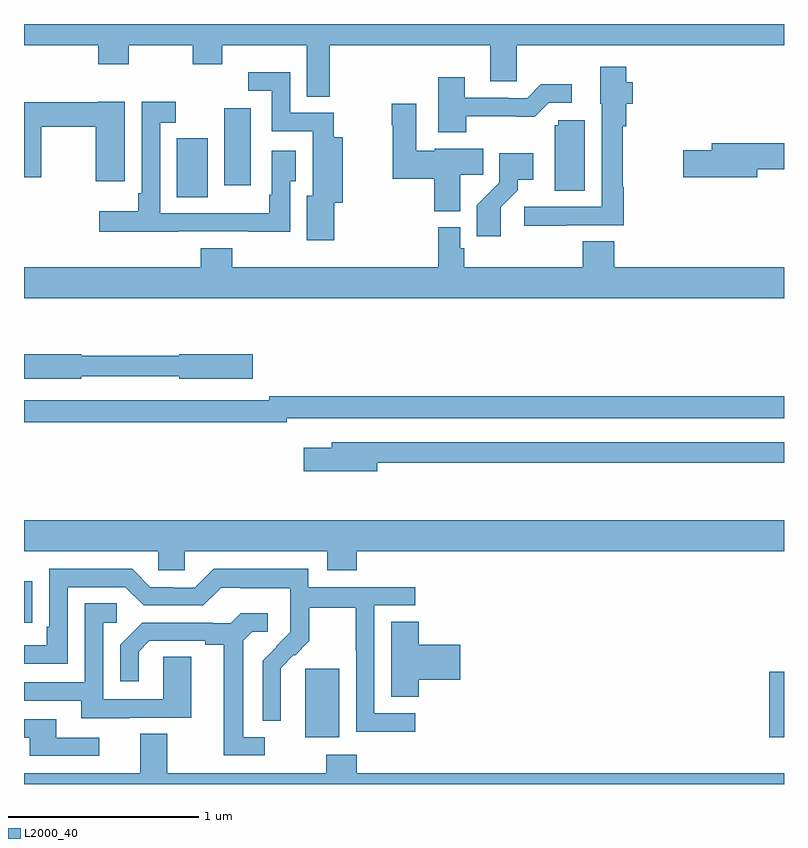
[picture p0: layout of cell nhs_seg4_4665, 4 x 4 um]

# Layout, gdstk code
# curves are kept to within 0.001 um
import gdstk
lib = gdstk.Library(unit=1e-6, precision=1e-09)
def R(c, l, rs):  # rectangles x0, y0, x1, y1
    for r in rs: c.add(gdstk.rectangle(r[:2], r[2:], *l))
def P(c, l, *ps):  # polygons
    for p in ps: c.add(gdstk.Polygon(p, *l))
L2000_40 = (2000, 40)

nhs_seg4_4665 = lib.new_cell('nhs_seg4_4665')
R(nhs_seg4_4665, L2000_40, [(362.48,825.146,362.659,825.507), (364.922,825.146,365,825.49), (361,825.748,361.043,825.967), (361.805,827.989,361.966,828.3), (362.054,828.051,362.194,828.457)])
P(nhs_seg4_4665, L2000_40, [(362.608,828.788),(363.455,828.788),(363.455,828.598),(363.594,828.598),(363.594,828.788),(365,828.788),(365,828.9),(361,828.9),(361,828.788),(361.391,828.788),(361.391,828.689),(361.551,828.689),(361.551,828.788),(361.888,828.788),(361.888,828.689),(362.043,828.689),(362.043,828.788),(362.489,828.788),(362.489,828.517),(362.608,828.517)],
  [(363.857,827.841),(364.157,827.841),(364.157,828.044),(364.15,828.044),(364.15,828.362),(364.17,828.362),(364.17,828.48),(364.205,828.48),(364.205,828.594),(364.17,828.594),(364.17,828.676),(364.034,828.676),(364.034,828.48),(364.041,828.48),(364.041,827.937),(363.633,827.937),(363.633,827.839),(363.857,827.839)],
  [(362.633,827.96),(362.677,827.96),(362.677,828.304),(362.63,828.304),(362.63,828.432),(362.4,828.432),(362.4,828.646),(362.181,828.646),(362.181,828.549),(362.304,828.549),(362.304,828.336),(362.519,828.336),(362.519,827.995),(362.489,827.995),(362.489,827.763),(362.633,827.763)],
  [(363.327,828.414),(363.689,828.413),(363.762,828.486),(363.883,828.486),(363.883,828.583),(363.721,828.583),(363.648,828.51),(363.548,828.51),(363.548,828.513),(363.319,828.513),(363.319,828.619),(363.179,828.619),(363.179,828.329),(363.327,828.329)],
  [(361.531,828.49),(361.389,828.49),(361.389,828.487),(361,828.487),(361,828.093),(361.092,828.093),(361.092,828.358),(361.378,828.358),(361.378,828.072),(361.531,828.072)],
  [(361.813,827.808),(362.179,827.808),(362.179,827.807),(362.4,827.807),(362.4,828.073),(362.431,828.073),(362.431,828.232),(362.304,828.232),(362.304,828.001),(362.292,828.001),(362.292,827.905),(362.062,827.905),(362.062,827.904),(361.716,827.904),(361.716,828.381),(361.798,828.381),(361.798,828.49),(361.62,828.49),(361.62,828.01),(361.6,828.01),(361.6,827.914),(361.395,827.914),(361.395,827.807),(361.813,827.807)],
  [(363.295,828.106),(363.416,828.106),(363.416,828.244),(363.162,828.244),(363.162,828.232),(363.064,828.232),(363.064,828.481),(362.935,828.481),(362.935,828.368),(362.942,828.368),(362.942,828.085),(363.158,828.085),(363.158,827.915),(363.295,827.915)],
  [(363.952,828.393),(363.813,828.393),(363.813,828.366),(363.794,828.366),(363.794,828.022),(363.952,828.022)],
  [(364.858,828.136),(365,828.136),(365,828.272),(364.619,828.272),(364.619,828.236),(364.47,828.236),(364.47,828.094),(364.858,828.094)],
  [(363.508,827.935),(363.598,828.025),(363.598,828.08),(363.679,828.08),(363.679,828.22),(363.501,828.22),(363.501,828.065),(363.382,827.946),(363.382,827.784),(363.508,827.784)],
  [(365,827.62),(364.106,827.62),(364.106,827.756),(363.941,827.756),(363.941,827.62),(363.317,827.62),(363.317,827.721),(363.297,827.721),(363.297,827.83),(363.181,827.83),(363.181,827.62),(362.096,827.62),(362.096,827.719),(361.931,827.719),(361.931,827.62),(361,827.62),(361,827.456),(365,827.456)],
  [(361.302,827.046),(361.818,827.046),(361.818,827.033),(362.203,827.033),(362.203,827.163),(361.818,827.163),(361.818,827.155),(361.302,827.155),(361.302,827.163),(361,827.163),(361,827.033),(361.302,827.033)],
  [(362.384,826.824),(365,826.824),(365,826.94),(362.29,826.94),(362.29,826.92),(361,826.92),(361,826.804),(362.384,826.804)],
  [(362.86,826.59),(365,826.59),(365,826.698),(362.621,826.698),(362.621,826.669),(362.472,826.669),(362.472,826.547),(362.86,826.547)],
  [(362.75,826.124),(365,826.124),(365,826.288),(361,826.288),(361,826.124),(361.707,826.124),(361.707,826.026),(361.845,826.026),(361.845,826.124),(362.597,826.124),(362.597,826.025),(362.75,826.025)],
  [(363.058,825.273),(362.844,825.273),(362.844,825.84),(363.058,825.84),(363.058,825.936),(362.496,825.936),(362.496,826.033),(361.999,826.033),(361.899,825.933),(361.784,825.933),(361.784,825.936),(361.665,825.936),(361.569,826.032),(361.134,826.032),(361.134,825.727),(361.121,825.727),(361.121,825.63),(361,825.63),(361,825.534),(361.23,825.534),(361.23,825.936),(361.533,825.936),(361.629,825.84),(361.944,825.84),(362.037,825.933),(362.137,825.933),(362.137,825.929),(362.4,825.929),(362.4,825.795),(362.402,825.795),(362.402,825.698),(362.256,825.55),(362.256,825.232),(362.352,825.232),(362.351,825.509),(362.421,825.579),(362.424,825.576),(362.501,825.653),(362.501,825.828),(362.746,825.828),(362.746,825.604),(362.748,825.604),(362.748,825.175),(363.058,825.175)],
  [(361.555,825.249),(361.879,825.249),(361.879,825.569),(361.734,825.569),(361.734,825.345),(361.416,825.345),(361.416,825.75),(361.489,825.75),(361.489,825.851),(361.32,825.851),(361.32,825.435),(361,825.435),(361,825.339),(361.301,825.339),(361.301,825.245),(361.555,825.245)],
  [(362.266,825.147),(362.155,825.147),(362.155,825.655),(362.202,825.702),(362.284,825.702),(362.284,825.799),(362.14,825.799),(362.088,825.747),(361.994,825.747),(361.994,825.75),(361.622,825.75),(361.506,825.634),(361.506,825.441),(361.603,825.441),(361.603,825.597),(361.66,825.654),(361.955,825.654),(361.955,825.632),(362.051,825.632),(362.051,825.051),(362.266,825.051)],
  [(363.077,825.449),(363.295,825.449),(363.295,825.632),(363.077,825.632),(363.077,825.755),(362.933,825.755),(362.933,825.358),(363.077,825.358)],
  [(361.396,825.144),(361.171,825.144),(361.171,825.24),(361,825.24),(361,825.144),(361.031,825.144),(361.031,825.048),(361.396,825.048)],
  [(365,824.956),(362.75,824.956),(362.75,825.055),(362.59,825.055),(362.59,824.956),(361.753,824.956),(361.753,825.164),(361.613,825.164),(361.613,824.956),(361,824.956),(361,824.9),(365,824.9)])

lib.write_gds('nhs_seg4_4665.gds')
